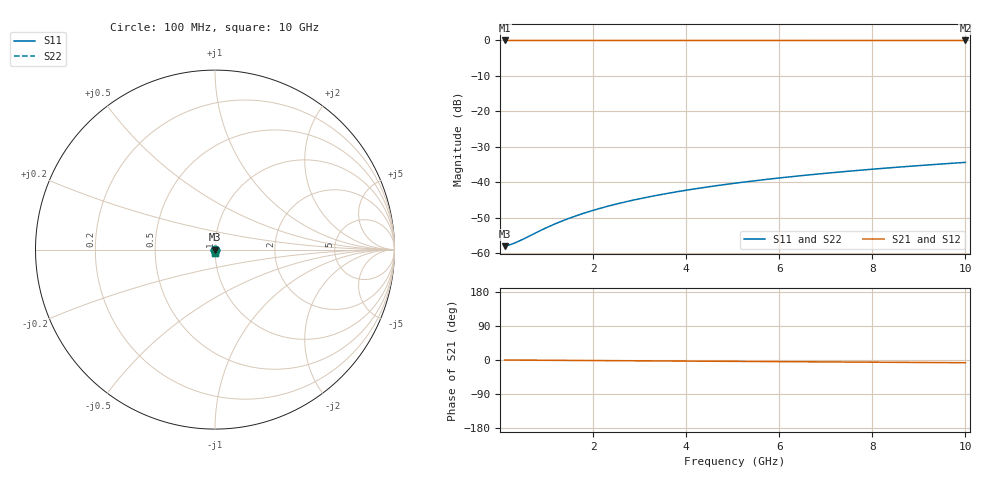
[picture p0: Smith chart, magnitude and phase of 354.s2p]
# Hz S RI R 50.00
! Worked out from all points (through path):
!   100 points, 100 MHz to 10 GHz, reference 50 ohm
!   highest |S21| = -0.01 dB at 100 MHz (marker M1); lowest = 0.0 dB at 10 GHz (marker M2)
!   lowest |S11| = -58.0 dB at 100 MHz (marker M3), VSWR 1.00, Z = 50.1 - j0.0192 ohm
!   |S11| at or under -10 dB: start of sweep to end of sweep
!   |S22| runs from -58.0 to -34.4 dB; largest |S21 - S12| = 0
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1e8  0.00124 -0.000192  0.9988 -0.00125  0.9988 -0.00125  0.00124 -0.000192
2e8  0.00125 -0.000384  0.9987 -0.0025  0.9987 -0.0025  0.00125 -0.000384
3e8  0.00125 -0.000576  0.9987 -0.00375  0.9987 -0.00375  0.00125 -0.000576
4e8  0.00126 -0.000768  0.9987 -0.005  0.9987 -0.005  0.00126 -0.000768
9e8  0.00126 -0.00173  0.9986 -0.0112  0.9986 -0.0112  0.00126 -0.00173
1.2e9  0.00125 -0.0023  0.9986 -0.015  0.9986 -0.015  0.00125 -0.0023
1.5e9  0.00123 -0.00288  0.9985 -0.0187  0.9985 -0.0187  0.00123 -0.00288
1.8e9  0.00121 -0.00345  0.9984 -0.0225  0.9984 -0.0225  0.00121 -0.00345
2.1e9  0.00119 -0.00403  0.9983 -0.0262  0.9983 -0.0262  0.00119 -0.00403
2.5e9  0.00115 -0.0048  0.9982 -0.0312  0.9982 -0.0312  0.00115 -0.0048
2.9e9  0.0011 -0.00556  0.998 -0.0362  0.998 -0.0362  0.0011 -0.00556
3.4e9  0.00103 -0.00652  0.9977 -0.0425  0.9977 -0.0425  0.00103 -0.00652
3.8e9  0.000964 -0.00729  0.9975 -0.0475  0.9975 -0.0475  0.000964 -0.00729
4.2e9  0.00089 -0.00805  0.9972 -0.0525  0.9972 -0.0525  0.00089 -0.00805
4.6e9  0.000809 -0.00882  0.9969 -0.0575  0.9969 -0.0575  0.000809 -0.00882
5.1e9  0.000696 -0.00978  0.9965 -0.0637  0.9965 -0.0637  0.000696 -0.00978
5.9e9  0.000491 -0.0113  0.9958 -0.0737  0.9958 -0.0737  0.000491 -0.0113
6.7e9  0.000256 -0.0128  0.995 -0.0837  0.995 -0.0837  0.000256 -0.0128
7.5e9  -1.06e-05 -0.0143  0.9941 -0.0937  0.9941 -0.0937  -1.06e-05 -0.0143
8.4e9  -0.000346 -0.016  0.9929 -0.1049  0.9929 -0.1049  -0.000346 -0.016
9.2e9  -0.000677 -0.0176  0.9917 -0.1148  0.9917 -0.1148  -0.000677 -0.0176
1e10  -0.00104 -0.0191  0.9905 -0.1248  0.9905 -0.1248  -0.00104 -0.0191
